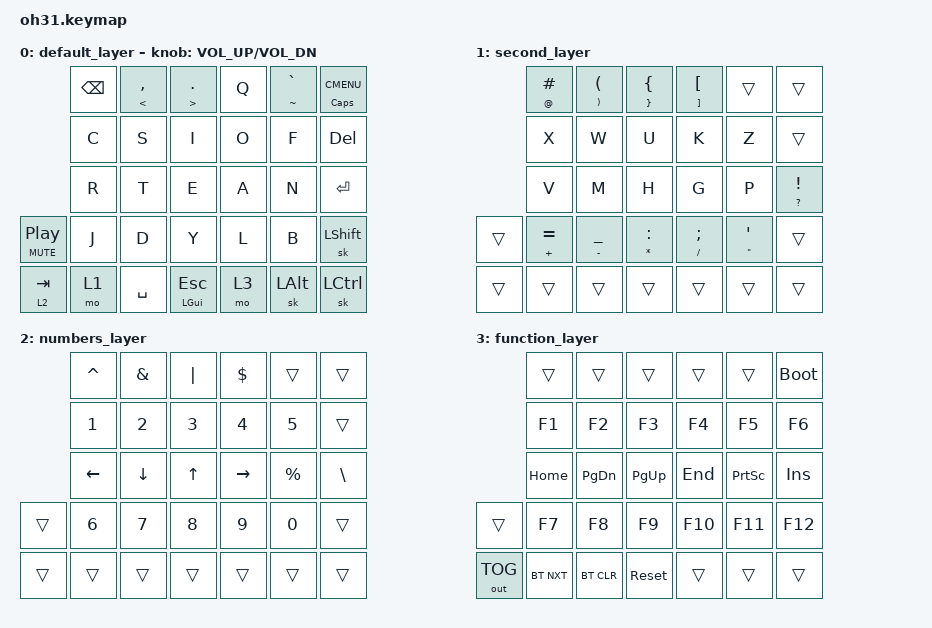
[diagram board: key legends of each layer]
#include <behaviors.dtsi>
#include <dt-bindings/zmk/keys.h>
#include <dt-bindings/zmk/outputs.h>
#include <dt-bindings/zmk/bt.h>

/ {
	behaviors {
        ht: mod_tap {
            compatible = "zmk,behavior-hold-tap";
            #binding-cells = <2>;
            flavor = "tap-preferred";
            tapping-term-ms = <200>;
            bindings = <&kp>, <&kp>;
            display-name = "Hold-Tap";
        };
        lt: layer_tap {
            compatible = "zmk,behavior-hold-tap";
            #binding-cells = <2>;
            flavor = "hold-preferred";
            tapping-term-ms = <200>;
            bindings = <&mo>, <&kp>;
            display-name = "Layer-Tap";
        };
    };

    keymap {
        compatible = "zmk,keymap";

        default_layer {
            // ------------------------------------------------------------------------------------------------------------
            //         | BSPC  |   ,   |   .   |   Q   |   `   | CMENU |
            //         |   C   |   S   |   I   |   O   |   F   |  DEL  |
            //         |   R   |   T   |   E   |   A   |   N   |  RET  |
            // | MUTE  |   J   |   D   |   Y   |   L   |   B   | SHIFT |
            // |  MO2  |  MO1  | SPACE | SUPER |  MO3  |  ALT  | CTRL  |

            bindings = <
                                &kp BSPC 		&ht LT COMMA 	&ht GT DOT 		&kp Q 			&ht TILDE GRAVE &ht CAPS K_CMENU
                                &kp C 			&kp S 			&kp I 			&kp O 			&kp F 			&kp DEL
                                &kp R 			&kp T 			&kp E 			&kp A 			&kp N 			&kp RET
                &ht C_MUTE C_PP &kp J 			&kp D 			&kp Y 			&kp L 			&kp B 			&sk LSHFT
                &lt 2 TAB 		&mo 1  			&kp SPACE 		&mt LGUI ESC	&mo 3 			&sk LALT 		&sk LCTRL
            >;

            sensor-bindings = <&inc_dec_kp C_VOL_UP C_VOL_DN>;
        };

        second_layer {
            // ------------------------------------------------------------------------------------------------------------
            //         |   #   |   (   |   {   |   [   |       |       |
            //         |   X   |   W   |   U   |   K   |   Z   |       |
            //         |   V   |   M   |   H   |   G   |   P   |   !   |
            // |       |   =   |   _   |   :   |   ;   |   '   |       |
            // |       |       |       |       |       |       |       |

            bindings = <
                                &ht AT HASH 	&ht RPAR LPAR 	&ht RBRC LBRC 	&ht RBKT LBKT 	&trans 			&trans
                                &kp X 			&kp W 			&kp U 			&kp K 			&kp Z 			&trans
                                &kp V 			&kp M 			&kp H 			&kp G 			&kp P 			&ht QMARK EXCL
                &trans 			&ht PLUS EQUAL 	&ht MINUS UNDER &ht STAR COLON 	&ht FSLH SEMI 	&ht DQT SQT     &trans
                &trans 			&trans 			&trans 			&trans 			&trans 			&trans 			&trans
            >;
        };

        numbers_layer {
            // ------------------------------------------------------------------------------------------------------------
            //         |   ^   |   &   |   |   |   $   |       |       |
            //         |   1   |   2   |   3   |   4   |   5   |       |
            //         | L-ARR | D-ARR | U-ARR | R-ARR |   %   |   \   |
            // |       |   6   |   7   |   8   |   9   |   0   |       |
            // |       |       |       |       |       |       |       |

            bindings = <
                                &kp CARET 		&kp AMPS 		&kp PIPE 		&kp DLLR 		&trans 			&trans
                                &kp N1 			&kp N2 			&kp N3 			&kp N4 			&kp N5 			&trans
                                &kp LEFT 		&kp DOWN 		&kp UP 			&kp RIGHT 		&kp PRCNT 		&kp BSLH
                &trans 			&kp N6 			&kp N7 			&kp N8 			&kp N9 			&kp N0 			&trans
                &trans 			&trans 			&trans 			&trans 			&trans 			&trans 			&trans
            >;
        };

        function_layer {
            // ------------------------------------------------------------------------------------------------------------
            //         |       |       |       |       |       | FLASH |
            //         |  F1   |  F2   |  F3   |  F4   |  F5   |  F6   |
            //         | HOME  | PG_DN | PG_UP |  END  | PSCRN |  INS  |
            // |       |  F7   |  F8   |  F9   |  F10  |  F11  |  F12  |
            // |OUT_TOG|BT_NXT |BT_CLR | RESET |       |       |       |

            bindings = <
                                &trans 			&trans 			&trans 			&trans 			&trans 			&bootloader
                                &kp F1 			&kp F2 			&kp F3 			&kp F4 			&kp F5 			&kp F6
                                &kp HOME		&kp PG_DN		&kp PG_UP		&kp END			&kp PSCRN		&kp INS
                &trans 			&kp F7 			&kp F8 			&kp F9 			&kp F10			&kp F11			&kp F12
                &out OUT_TOG	&bt BT_NXT		&bt BT_CLR		&sys_reset 		&trans 			&trans 			&trans
            >;
        };
    };
};
